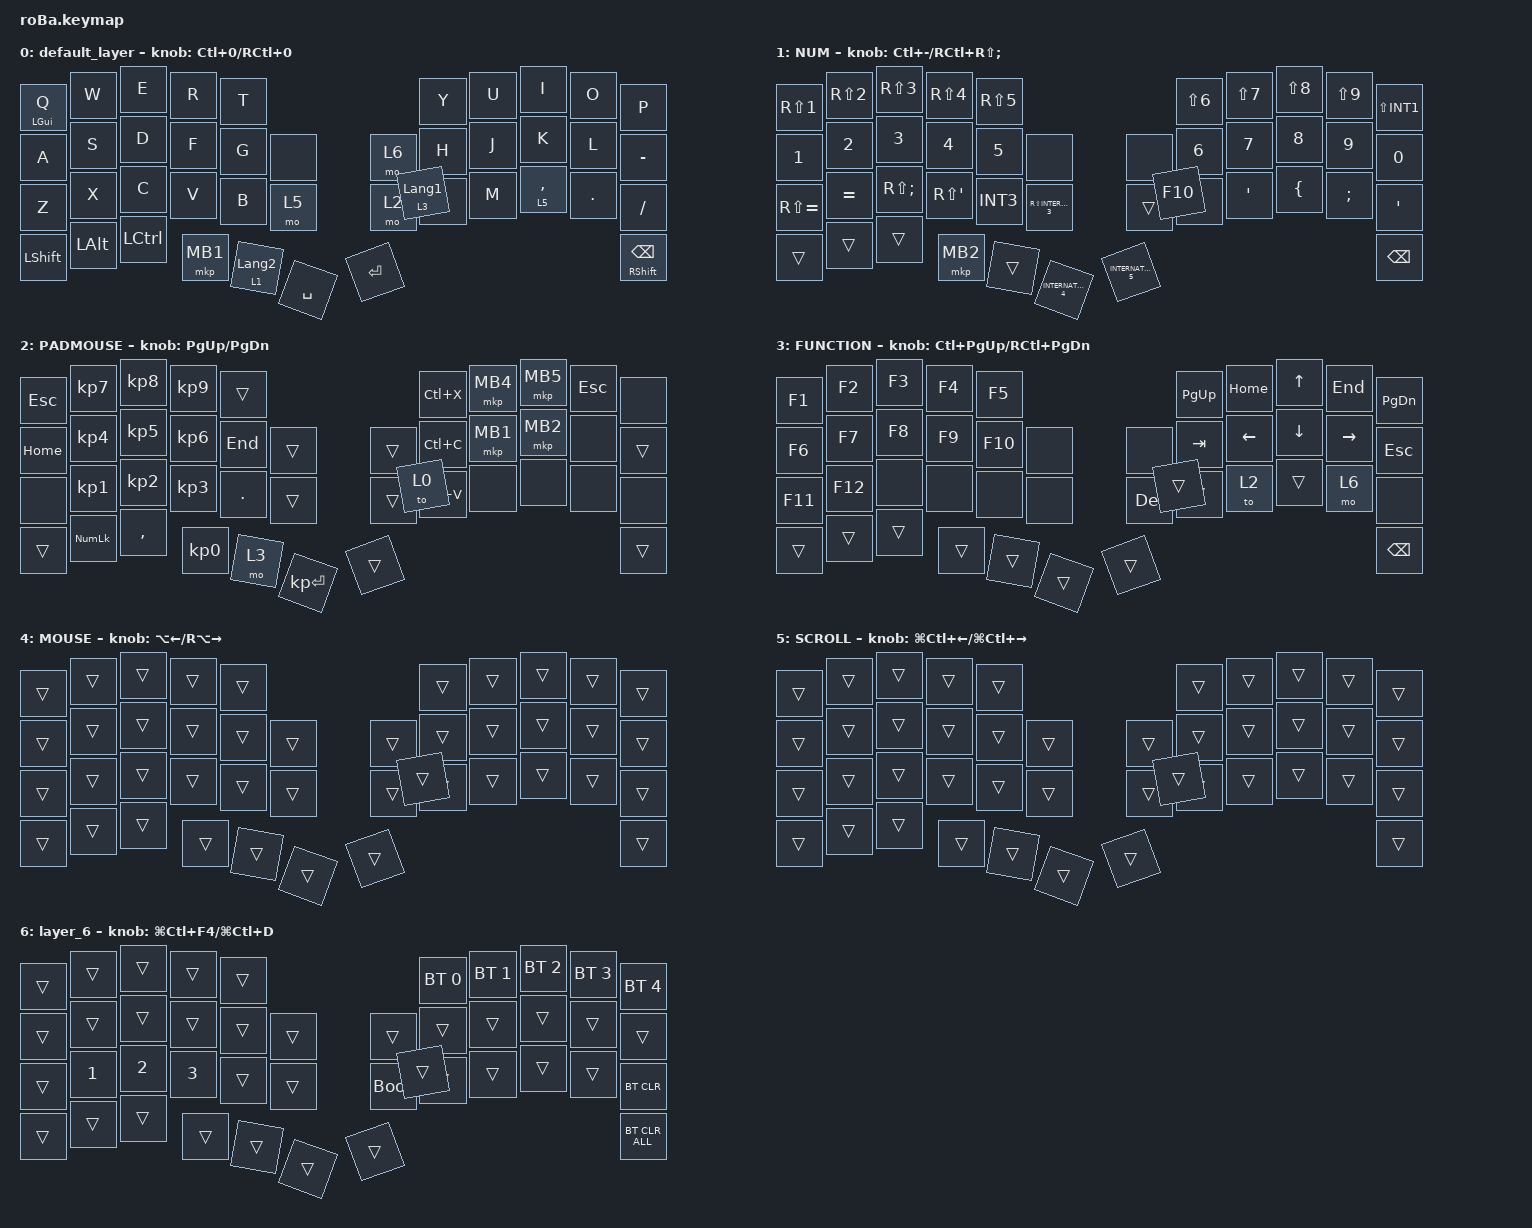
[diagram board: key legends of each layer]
#include <behaviors.dtsi>
#include <dt-bindings/zmk/bt.h>
#include <dt-bindings/zmk/keys.h>
#include <dt-bindings/zmk/pointing.h>

&mt {
    flavor = "balanced";
    quick-tap-ms = <0>;
};

//&trackball {
//    automouse-layer = <4>;
//    scroll-layers = <5>;

    // arrows {
    //     layers = <3>;
    //     bindings =
    //         <&kp RIGHT_ARROW>,
    //         <&kp LEFT_ARROW>,
    //         <&kp UP_ARROW>,
    //         <&kp DOWN_ARROW>;
    //     tick = <10>;
    //     wait-ms = <5>;
    //     tap-ms = <5>;
    // };
//};

/ {
    combos {
        compatible = "zmk,combos";

        tab {
            bindings = <&kp TAB>;
            key-positions = <11 12>;
        };

        shift_tab {
            bindings = <&kp LS(TAB)>;
            key-positions = <12 13>;
        };

        muhennkann {
            bindings = <&to_layer_0 INT_MUHENKAN>;
            key-positions = <11 10>;
        };

        double_quotation {
            bindings = <&kp DOUBLE_QUOTES>;
            key-positions = <20 21>;
        };

        eq {
            bindings = <&kp EQUAL>;
            key-positions = <24 25>;
        };
    };

    macros {
        to_layer_0: to_layer_0 {
            compatible = "zmk,behavior-macro-one-param";
            #binding-cells = <1>;
            bindings = <&to 0 &macro_param_1to1 &kp MACRO_PLACEHOLDER>;
            label = "TO_LAYER_0";
        };
    };

    behaviors {
        lt_to_layer_0: lt_to_layer_0 {
            compatible = "zmk,behavior-hold-tap";
            label = "LAYER_TAP_TO_0";
            bindings = <&mo>, <&to_layer_0>;

            #binding-cells = <2>;
            tapping-term-ms = <200>;
        };
    };

    keymap {
        compatible = "zmk,keymap";

        default_layer {
            bindings = <
&mt LEFT_GUI Q  &kp W         &kp E             &kp R     &kp T                                       &kp Y             &kp U  &kp I        &kp O    &kp P
&kp A           &kp S         &kp D             &kp F     &kp G             &none          &mo 6      &kp H             &kp J  &kp K        &kp L    &kp MINUS
&kp Z           &kp X         &kp C             &kp V     &kp B             &mo 5          &mo 2      &kp N             &kp M  &lt 5 COMMA  &kp DOT  &kp SLASH
&kp LEFT_SHIFT  &kp LEFT_ALT  &kp LEFT_CONTROL  &mkp MB1  &lt 1 LANGUAGE_2  &kp SPACE      &kp ENTER  &lt 3 LANGUAGE_1                               &mt RSHFT BACKSPACE
            >;

            sensor-bindings = <&inc_dec_kp LC(N0) RC(N0)>;
        };

        NUM {
            bindings = <
&kp RS(NUMBER_1)  &kp RS(NUMBER_2)  &kp RS(NUMBER_3)  &kp RS(NUMBER_4)  &kp RS(NUMBER_5)                                                    &kp LS(NUMBER_6)   &kp LS(NUMBER_7)  &kp LS(NUMBER_8)  &kp LS(NUMBER_9)  &kp LS(INT1)
&kp NUMBER_1      &kp NUMBER_2      &kp NUMBER_3      &kp NUMBER_4      &kp NUMBER_5      &none                        &none                &kp NUMBER_6       &kp NUMBER_7      &kp NUMBER_8      &kp NUMBER_9      &kp NUMBER_0
&kp RS(EQUAL)     &kp EQUAL         &kp RS(SEMI)      &kp RS(APOS)      &kp INT3          &kp RS(INTERNATIONAL_3)      &trans               &kp RIGHT_BRACKET  &kp SINGLE_QUOTE  &kp LEFT_BRACE    &kp SEMI          &kp APOS
&trans            &trans            &trans            &mkp MB2          &trans            &kp INTERNATIONAL_4          &kp INTERNATIONAL_5  &kp F10                                                                  &kp BACKSPACE
            >;

            sensor-bindings = <&inc_dec_kp LC(MINUS) RC(RS(SEMICOLON))>;
        };

        PADMOUSE {
            bindings = <
&kp ESCAPE  &kp KP_NUMBER_7  &kp KP_NUMBER_8  &kp KP_NUMBER_9  &trans                                &kp LC(X)  &mkp MB4  &mkp MB5  &kp ESCAPE  &none
&kp HOME    &kp KP_NUMBER_4  &kp KP_NUMBER_5  &kp KP_NUMBER_6  &kp END     &trans            &trans  &kp LC(C)  &mkp MB1  &mkp MB2  &none       &trans
&none       &kp KP_NUMBER_1  &kp KP_NUMBER_2  &kp KP_NUMBER_3  &kp PERIOD  &trans            &trans  &kp LC(V)  &none     &none     &none       &none
&trans      &kp KP_NUMLOCK   &kp COMMA        &kp KP_NUMBER_0  &mo 3       &kp KP_ENTER      &trans  &to 0                                      &trans
            >;

            sensor-bindings = <&inc_dec_kp PAGE_UP PAGE_DOWN>;
        };

        FUNCTION {
            bindings = <
&kp F1   &kp F2   &kp F3  &kp F4  &kp F5                           &kp PG_UP  &kp HOME        &kp UP_ARROW    &kp END          &kp PAGE_DOWN
&kp F6   &kp F7   &kp F8  &kp F9  &kp F10  &none       &none       &kp TAB    &kp LEFT_ARROW  &kp DOWN_ARROW  &kp RIGHT_ARROW  &kp ESCAPE
&kp F11  &kp F12  &none   &none   &none    &none       &kp DELETE  &trans     &to 2           &trans          &mo 6            &none
&trans   &trans   &trans  &trans  &trans   &trans      &trans      &trans                                                      &kp BACKSPACE
            >;

            sensor-bindings = <&inc_dec_kp LC(PG_UP) RC(PAGE_DOWN)>;
        };

        MOUSE {
            bindings = <
&trans  &trans  &trans  &trans  &trans                      &trans  &trans  &trans  &trans  &trans
&trans  &trans  &trans  &trans  &trans  &trans      &trans  &trans  &trans  &trans  &trans  &trans
&trans  &trans  &trans  &trans  &trans  &trans      &trans  &trans  &trans  &trans  &trans  &trans
&trans  &trans  &trans  &trans  &trans  &trans      &trans  &trans                          &trans
            >;

            sensor-bindings = <&inc_dec_kp LA(LEFT_ARROW) RA(RIGHT_ARROW)>;
        };

        SCROLL {
            bindings = <
&trans  &trans  &trans  &trans  &trans                      &trans  &trans  &trans  &trans  &trans
&trans  &trans  &trans  &trans  &trans  &trans      &trans  &trans  &trans  &trans  &trans  &trans
&trans  &trans  &trans  &trans  &trans  &trans      &trans  &trans  &trans  &trans  &trans  &trans
&trans  &trans  &trans  &trans  &trans  &trans      &trans  &trans                          &trans
            >;

            sensor-bindings = <&inc_dec_kp LG(LC(LEFT_ARROW)) LG(LC(RIGHT_ARROW))>;
        };

        layer_6 {
            bindings = <
&trans  &trans        &trans        &trans        &trans                           &bt BT_SEL 0  &bt BT_SEL 1  &bt BT_SEL 2  &bt BT_SEL 3  &bt BT_SEL 4
&trans  &trans        &trans        &trans        &trans  &trans      &trans       &trans        &trans        &trans        &trans        &trans
&trans  &kp NUMBER_1  &kp NUMBER_2  &kp NUMBER_3  &trans  &trans      &bootloader  &trans        &trans        &trans        &trans        &bt BT_CLR
&trans  &trans        &trans        &trans        &trans  &trans      &trans       &trans                                                  &bt BT_CLR_ALL
            >;

            sensor-bindings = <&inc_dec_kp LG(LC(F4)) LG(LC(D))>;
        };
    };
};
